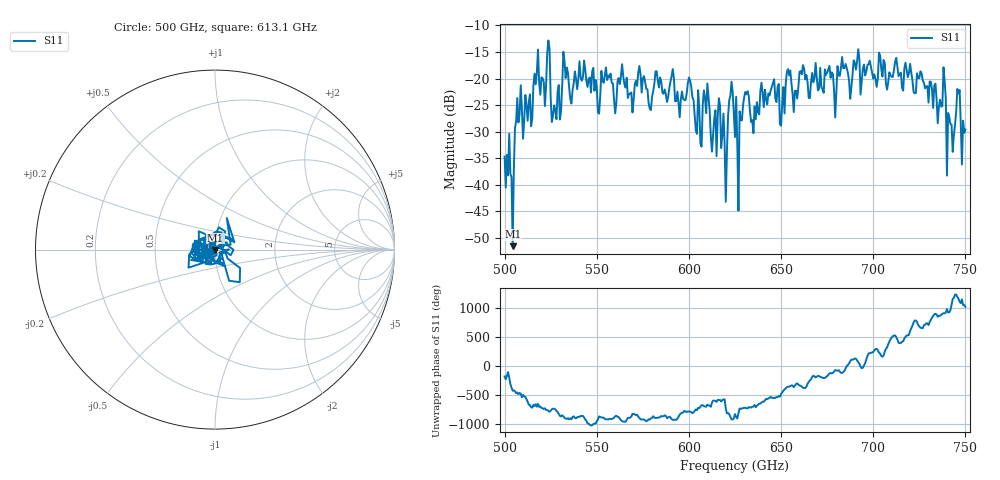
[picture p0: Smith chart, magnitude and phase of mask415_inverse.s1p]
!Created with skrf (http://scikit-rf.org).
# GHz S MA R 50.0
!freq magS11 angS11
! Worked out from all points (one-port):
!   401 points, 500 GHz to 750 GHz, reference 50 ohm
!   lowest |S11| = -51.6 dB at 504.4 GHz (marker M1), VSWR 1.01, Z = 50.1 - j0.236 ohm
!   |S11| at or under -10 dB: start of sweep to end of sweep
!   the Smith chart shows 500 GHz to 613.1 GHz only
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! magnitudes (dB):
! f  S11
! 500 GHz  -34.7
! 504.4 GHz  -51.6
! 507.5 GHz  -28.3
! 513.8 GHz  -23.0
! 516.9 GHz  -21.1
! 523.8 GHz  -12.8
! 526.9 GHz  -25.0
! 531.2 GHz  -21.3
! 562.5 GHz  -21.1
! 579.4 GHz  -25.9
! 590.6 GHz  -19.5
! 593.8 GHz  -22.5
! 600.6 GHz  -20.4
! 605.6 GHz  -25.6
! 609.4 GHz  -26.5
! 619.4 GHz  -32.4
! 622.5 GHz  -23.3
! 625 GHz  -31.0
! 627.5 GHz  -26.2
! 631.2 GHz  -22.9
! 635 GHz  -30.3
! 640 GHz  -22.7
! 656.2 GHz  -22.9
! 687.5 GHz  -23.8
! 690.6 GHz  -18.3
! 718.8 GHz  -19.7
! 746.2 GHz  -22.8
! 750 GHz  -29.6
